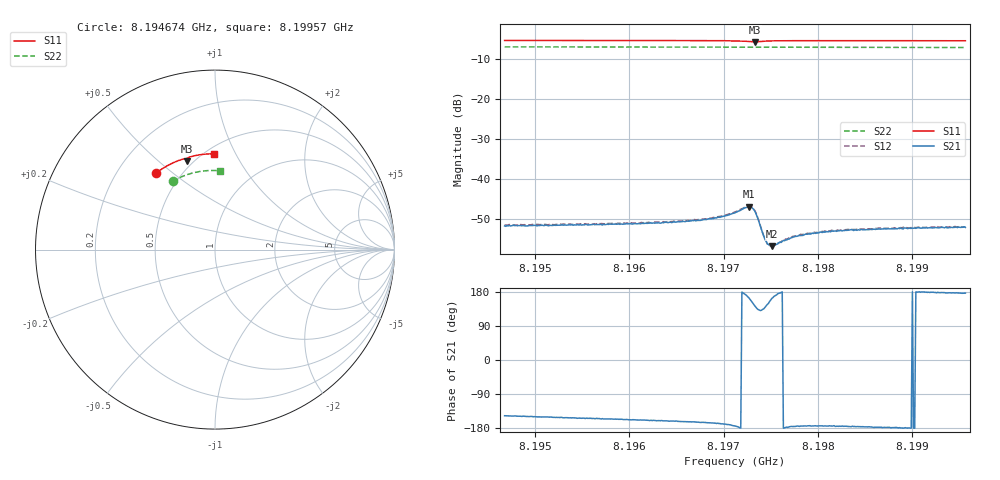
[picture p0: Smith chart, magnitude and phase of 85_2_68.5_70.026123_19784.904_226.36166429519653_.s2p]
#  HZ  S  RI  R  50.00
! Rohde & Schwarz Vector Network Analyzer
! Rohde-Schwarz,ZNB20-2Port,1311601062101988,3.16
! Created: UTC 3/20/2024, 4:52:19 PM
! freq[Hz]  re:S11  im:S11  re:S21  im:S21  re:S12  im:S12  re:S22  im:S22
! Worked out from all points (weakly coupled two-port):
!   401 points, 8.194674 GHz to 8.19957 GHz, reference 50 ohm
!   highest |S21| = -46.87 dB at 8.197269 GHz (marker M1); lowest = -56.8 dB at 8.197514 GHz (marker M2)
!   lowest |S11| = -5.7 dB at 8.19733 GHz (marker M3), VSWR 3.14, Z = 23.2 + j31.2 ohm
!   |S11| at or under -10 dB: nowhere
!   |S22| runs from -7.1 to -7.0 dB; largest |S21 - S12| = 0.00024
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8.194674e9  -0.3268 0.4279  -0.00218 -0.00141  -0.00232 -0.00136  -0.2367 0.3803
8.195494e9  -0.2783 0.4599  -0.00239 -0.00117  -0.0025 -0.00112  -0.1962 0.4013
8.1963141e9  -0.2262 0.4868  -0.00267 -0.000978  -0.00278 -0.000902  -0.1534 0.4181
8.1965099e9  -0.2131 0.4924  -0.00278 -0.000914  -0.00284 -0.000817  -0.1429 0.4215
8.1968404e9  -0.1899 0.5009  -0.00309 -0.000793  -0.00316 -0.000692  -0.125 0.4265
8.1969873e9  -0.1786 0.5041  -0.00333 -0.000687  -0.00341 -0.000561  -0.117 0.4286
8.1971219e9  -0.167 0.5057  -0.00377 -0.000391  -0.00388 -0.000213  -0.1097 0.4303
8.1972321e9  -0.1559 0.5027  -0.00434 0.000555  -0.00441 0.000767  -0.1034 0.4315
8.1972688e9  -0.1535 0.4993  -0.00437 0.00123  -0.00435 0.00144  -0.1014 0.4317
8.1973055e9  -0.1537 0.495  -0.00383 0.00203  -0.00384 0.00225  -0.0996 0.432
8.19733e9  -0.156 0.4933  -0.00324 0.00239  -0.00315 0.00258  -0.0982 0.4322
8.1973544e9  -0.1587 0.4935  -0.00248 0.0024  -0.00241 0.00257  -0.0971 0.4324
8.1974156e9  -0.1615 0.4999  -0.00146 0.00152  -0.0014 0.00162  -0.0939 0.4332
8.1974524e9  -0.1598 0.5039  -0.00132 0.00102  -0.00129 0.0011  -0.0917 0.4338
8.1974891e9  -0.1573 0.507  -0.00133 0.000642  -0.00135 0.000709  -0.0897 0.4341
8.1975136e9  -0.1554 0.5086  -0.00138 0.000437  -0.00139 0.000552  -0.0885 0.4344
8.1975625e9  -0.1513 0.5112  -0.00152 0.000224  -0.00151 0.000257  -0.0858 0.435
8.1977461e9  -0.1367 0.517  -0.00189 -0.000152  -0.00193 -4.58e-05  -0.0754 0.4366
8.1979419e9  -0.1222 0.5211  -0.0021 -0.000215  -0.00214 -0.000126  -0.0644 0.4381
8.1983458e9  -0.093 0.5267  -0.00231 -0.000167  -0.00231 -9.69e-05  -0.0417 0.44
8.198762e9  -0.0634 0.531  -0.00238 -9.6e-05  -0.00243 -1.26e-05  -0.0184 0.4409
8.1995698e9  -0.00599 0.5337  -0.00248 0.000155  -0.0025 0.000298  0.0275 0.4389
